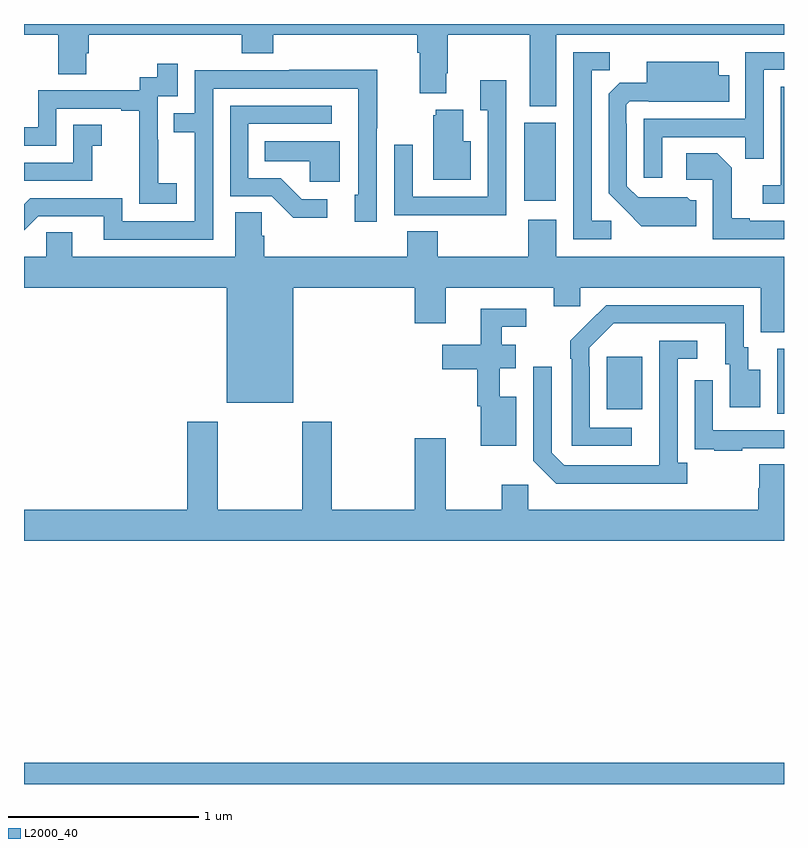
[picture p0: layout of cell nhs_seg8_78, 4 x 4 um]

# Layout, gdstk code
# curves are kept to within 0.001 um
import gdstk
lib = gdstk.Library(unit=1e-6, precision=1e-09)
def R(c, l, rs):  # rectangles x0, y0, x1, y1
    for r in rs: c.add(gdstk.rectangle(r[:2], r[2:], *l))
def P(c, l, *ps):  # polygons
    for p in ps: c.add(gdstk.Polygon(p, *l))
L2000_40 = (2000, 40)

nhs_seg8_78 = lib.new_cell('nhs_seg8_78')
R(nhs_seg8_78, L2000_40, [(115,1101.9,119,1102.012), (118.964,1103.848,119,1104.192), (118.067,1103.873,118.255,1104.148), (117.632,1104.969,117.799,1105.381)])
P(nhs_seg8_78, L2000_40, [(117.802,1105.844),(119,1105.844),(119,1105.9),(115,1105.9),(115,1105.844),(115.18,1105.844),(115.18,1105.636),(115.327,1105.636),(115.327,1105.746),(115.34,1105.746),(115.34,1105.844),(116.147,1105.844),(116.147,1105.745),(116.312,1105.745),(116.312,1105.844),(117.071,1105.844),(117.071,1105.748),(117.083,1105.748),(117.083,1105.535),(117.223,1105.535),(117.223,1105.642),(117.231,1105.642),(117.231,1105.844),(117.662,1105.844),(117.662,1105.466),(117.802,1105.466)],
  [(118.09,1104.864),(117.987,1104.864),(117.987,1105.657),(118.083,1105.657),(118.083,1105.752),(117.891,1105.752),(117.891,1104.768),(118.09,1104.768)],
  [(118.359,1105.305),(118.795,1105.305),(118.795,1105.192),(118.893,1105.192),(118.893,1105.659),(119,1105.659),(119,1105.752),(118.797,1105.752),(118.797,1105.401),(118.263,1105.401),(118.263,1105.092),(118.359,1105.092)],
  [(118.537,1104.972),(118.506,1104.972),(118.49,1104.988),(118.233,1104.987),(118.173,1105.047),(118.173,1105.376),(118.17,1105.376),(118.17,1105.476),(118.188,1105.494),(118.288,1105.494),(118.288,1105.49),(118.712,1105.49),(118.712,1105.63),(118.657,1105.63),(118.657,1105.702),(118.277,1105.702),(118.277,1105.591),(118.136,1105.591),(118.077,1105.532),(118.077,1105.01),(118.249,1104.836),(118.537,1104.836)],
  [(115.804,1105.063),(115.706,1105.063),(115.706,1105.292),(115.704,1105.292),(115.704,1105.521),(115.809,1105.521),(115.809,1105.69),(115.701,1105.69),(115.701,1105.62),(115.608,1105.62),(115.608,1105.551),(115.074,1105.551),(115.074,1105.356),(115,1105.356),(115,1105.26),(115.17,1105.26),(115.17,1105.455),(115.511,1105.455),(115.511,1105.443),(115.607,1105.443),(115.607,1105.159),(115.606,1105.159),(115.606,1104.953),(115.804,1104.953)],
  [(115.995,1105.56),(116.759,1105.56),(116.76,1105.002),(116.741,1105.002),(116.741,1104.858),(116.856,1104.858),(116.856,1105.351),(116.859,1105.351),(116.859,1105.658),(116.395,1105.658),(116.395,1105.656),(115.899,1105.656),(115.899,1105.431),(115.789,1105.431),(115.789,1105.33),(115.899,1105.33),(115.899,1104.861),(115.518,1104.861),(115.518,1104.984),(115.032,1104.984),(115,1104.952),(115,1104.814),(115.074,1104.888),(115.421,1104.888),(115.421,1104.765),(115.995,1104.765)],
  [(117.537,1105.603),(117.401,1105.603),(117.401,1105.447),(117.441,1105.447),(117.441,1104.99),(117.045,1104.99),(117.045,1105.264),(116.949,1105.264),(116.949,1104.894),(117.265,1104.894),(117.265,1104.893),(117.537,1104.893)],
  [(119,1105.571),(118.983,1105.571),(118.983,1105.051),(118.887,1105.051),(118.887,1104.954),(119,1104.954)],
  [(116.596,1104.978),(116.461,1104.978),(116.35,1105.089),(116.181,1105.089),(116.181,1105.374),(116.62,1105.374),(116.62,1105.47),(116.085,1105.47),(116.085,1104.993),(116.304,1104.993),(116.417,1104.881),(116.596,1104.881)],
  [(117.352,1105.282),(117.313,1105.282),(117.313,1105.45),(117.167,1105.45),(117.167,1105.419),(117.155,1105.419),(117.155,1105.079),(117.352,1105.079)],
  [(115.359,1105.259),(115.408,1105.259),(115.408,1105.369),(115.26,1105.369),(115.26,1105.17),(115,1105.17),(115,1105.074),(115.359,1105.074)],
  [(116.662,1105.282),(116.266,1105.282),(116.266,1105.178),(116.505,1105.178),(116.505,1105.07),(116.662,1105.07)],
  [(119,1104.864),(118.819,1104.864),(118.819,1104.877),(118.725,1104.877),(118.725,1105.144),(118.649,1105.22),(118.485,1105.22),(118.485,1105.08),(118.626,1105.08),(118.626,1104.768),(119,1104.768)],
  [(116.416,1104.512),(117.056,1104.512),(117.056,1104.324),(117.22,1104.324),(117.22,1104.512),(117.788,1104.512),(117.788,1104.414),(117.927,1104.414),(117.927,1104.512),(118.877,1104.512),(118.877,1104.277),(119,1104.277),(119,1104.676),(117.802,1104.676),(117.802,1104.871),(117.655,1104.871),(117.655,1104.676),(117.177,1104.676),(117.177,1104.809),(117.017,1104.809),(117.017,1104.676),(116.264,1104.676),(116.264,1104.785),(116.25,1104.785),(116.25,1104.908),(116.111,1104.908),(116.111,1104.676),(115.255,1104.676),(115.255,1104.803),(115.116,1104.803),(115.116,1104.676),(115,1104.676),(115,1104.512),(116.066,1104.512),(116.066,1103.906),(116.416,1103.906)],
  [(118.198,1103.775),(117.978,1103.775),(117.978,1104.095),(117.975,1104.095),(117.975,1104.195),(118.104,1104.324),(118.691,1104.324),(118.691,1104.108),(118.715,1104.108),(118.715,1103.883),(118.876,1103.883),(118.876,1104.079),(118.813,1104.079),(118.813,1104.198),(118.788,1104.198),(118.788,1104.42),(118.064,1104.42),(117.973,1104.329),(117.972,1104.33),(117.875,1104.232),(117.875,1104.137),(117.882,1104.137),(117.882,1103.679),(118.198,1103.679)],
  [(117.592,1103.938),(117.503,1103.938),(117.503,1104.089),(117.589,1104.089),(117.589,1104.211),(117.514,1104.211),(117.514,1104.306),(117.643,1104.306),(117.643,1104.402),(117.404,1104.402),(117.404,1104.211),(117.201,1104.211),(117.201,1104.082),(117.385,1104.082),(117.385,1103.889),(117.404,1103.889),(117.404,1103.681),(117.592,1103.681)],
  [(118.492,1103.59),(118.44,1103.59),(118.44,1104.138),(118.543,1104.138),(118.543,1104.234),(118.344,1104.234),(118.343,1103.577),(117.843,1103.577),(117.777,1103.643),(117.777,1104.097),(117.681,1104.097),(117.681,1103.601),(117.802,1103.48),(118.492,1103.48)],
  [(118.781,1103.667),(119,1103.667),(119,1103.763),(118.626,1103.763),(118.626,1104.025),(118.53,1104.025),(118.53,1103.77),(118.531,1103.77),(118.531,1103.661),(118.633,1103.661),(118.633,1103.655),(118.781,1103.655)],
  [(119,1103.582),(118.87,1103.582),(118.87,1103.457),(118.865,1103.457),(118.865,1103.344),(117.654,1103.344),(117.654,1103.476),(117.515,1103.476),(117.515,1103.344),(117.22,1103.344),(117.22,1103.719),(117.056,1103.719),(117.056,1103.344),(116.619,1103.344),(116.619,1103.806),(116.464,1103.806),(116.464,1103.344),(116.019,1103.344),(116.019,1103.806),(115.859,1103.806),(115.859,1103.344),(115,1103.344),(115,1103.18),(119,1103.18)])

lib.write_gds('nhs_seg8_78.gds')
